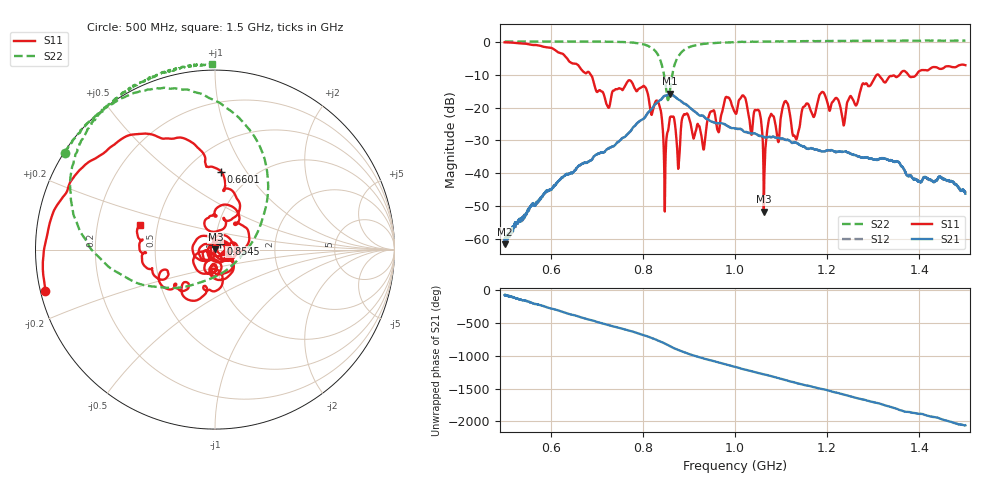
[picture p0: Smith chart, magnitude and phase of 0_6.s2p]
!Keysight Technologies,N5242B,MY48420860,A.13.80.08
!Date: Saturday, September 26, 2020 11:28:49
!Correction: S11(Full 2 Port(1,2))
!S21(Full 2 Port(1,2))
!S12(Full 2 Port(1,2))
!S22(Full 2 Port(1,2))
!S2P File: Measurements: S11, S21, S12, S22:
# Hz S  dB  R 50
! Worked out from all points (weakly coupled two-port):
!   2650 points, 500 MHz to 1.5 GHz, reference 50 ohm
!   highest |S21| = -15.85 dB at 858.2 MHz (marker M1); lowest = -61.5 dB at 500 MHz (marker M2)
!   lowest |S11| = -51.6 dB at 1.062 GHz (marker M3), VSWR 1.01, Z = 50.2 + j0.151 ohm
!   |S11| at or under -10 dB: 686.5 MHz to 1.309 GHz (622.3 MHz wide, 62.4 % of centre); 1.311 GHz to 1.358 GHz (47.04 MHz wide, 3.53 % of centre); 1.376 GHz to 1.394 GHz (18.39 MHz wide, 1.33 % of centre)
!   |S22| runs from -17.8 to 0.3 dB; largest |S21 - S12| = 0.00042
!   S11 on the Smith chart (normalised r, x): 500 MHz: 0.01, -0.12; 660.1 MHz: 0.72, +0.77; 854.5 MHz: 1.06, +0.07; 1.5 GHz: 0.40, +0.14
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5e8  -0.24 -166.4  -61.52 -74.1  -62.04 -76.0  -0.04 147.2
6.034353e8  -2.05 125.7  -44.43 79.0  -44.49 78.4  -0.02 138.8
6.600604e8  -7.22 85.4  -37.82 -39.0  -37.86 -38.8  -0.01 133.3
6.668554e8  -8.53 81.3  -37.19 -55.0  -37.17 -54.3  -0.01 132.5
7.238581e8  -19.75 83.6  -32.52 -168.0  -32.55 -167.4  -0.06 124.5
7.706682e8  -11.73 72.1  -27.53 104.6  -27.54 104.4  -0.29 113.7
8.337108e8  -18.48 -16.2  -18.14 -48.2  -18.14 -48.3  -4.24 65.2
8.469234e8  -43.23 -112.9  -16.49 -89.9  -16.49 -89.9  -10.86 28.1
8.544734e8  -27.18 45.6  -16.11 -115.2  -16.11 -115.2  -17.78 -47.9
8.582484e8  -23.37 36.6  -15.85 -129.4  -15.86 -129.4  -15.37 -102.2
8.771234e8  -38.34 3.9  -17.58 169.0  -17.59 169.0  -4.45 -170.7
8.94866e8  -21.85 -39.3  -19.18 121.8  -19.19 121.6  -2.09 168.9
9.311061e8  -32.55 -148.2  -22.57 42.3  -22.58 42.4  -0.73 150.0
9.492261e8  -21.19 -1.6  -24.30 8.2  -24.31 8.3  -0.52 144.8
1.000189e9  -21.57 -100.0  -26.30 -87.7  -26.31 -87.7  -0.18 135.5
1.050396e9  -20.72 -169.5  -28.42 178.3  -28.43 178.0  -0.06 128.9
1.062476e9  -51.55 34.7  -28.97 158.1  -28.97 158.2  0.02 127.9
1.108532e9  -18.14 -175.6  -29.75 72.5  -29.79 72.4  0.07 123.3
1.130049e9  -28.80 105.8  -30.56 33.0  -30.59 32.7  0.10 121.1
1.166667e9  -21.65 -46.5  -32.32 -29.3  -32.38 -29.6  0.11 117.9
1.333522e9  -10.91 -126.5  -35.98 29.6  -35.95 29.2  0.27 104.6
1.5e9  -7.17 161.6  -46.12 99.7  -45.71 98.1  0.27 90.8
